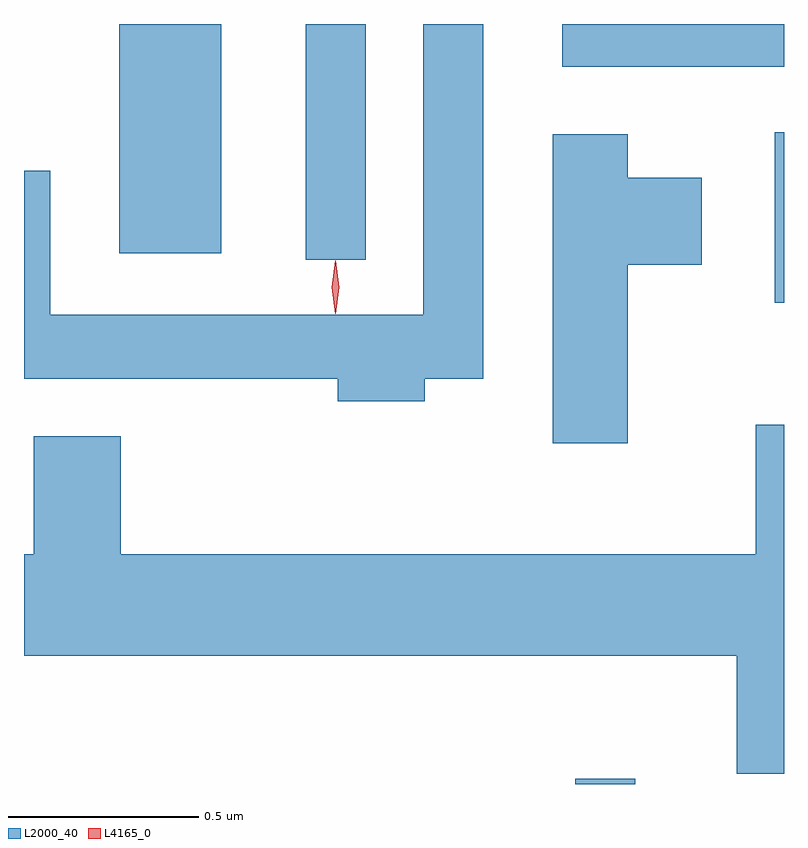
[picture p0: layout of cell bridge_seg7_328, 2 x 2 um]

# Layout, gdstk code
import gdstk
lib = gdstk.Library(unit=1e-6, precision=1e-09)
def R(c, l, rs):  # rectangles x0, y0, x1, y1
    for r in rs: c.add(gdstk.rectangle(r[:2], r[2:], *l))
def P(c, l, *ps):  # polygons
    for p in ps: c.add(gdstk.Polygon(p, *l))
L2000_40 = (2000, 40)
L4165_0 = (4165, 0)

bridge_seg7_328 = lib.new_cell('bridge_seg7_328')
R(bridge_seg7_328, L2000_40, [(1195.856,1756.159,1196.014,1756.173), (1196.381,1757.426,1196.405,1757.874), (1195.146,1757.538,1195.304,1758.159), (1194.656,1757.556,1194.924,1758.159), (1195.821,1758.046,1196.405,1758.159)])
P(bridge_seg7_328, L2000_40, [(1195.459,1757.226),(1195.614,1757.226),(1195.614,1758.159),(1195.456,1758.159),(1195.456,1757.394),(1194.474,1757.394),(1194.474,1757.773),(1194.405,1757.773),(1194.405,1757.226),(1195.231,1757.226),(1195.231,1757.166),(1195.459,1757.166)],
  [(1195.994,1757.526),(1196.189,1757.526),(1196.189,1757.754),(1195.994,1757.754),(1195.994,1757.869),(1195.796,1757.869),(1195.796,1757.056),(1195.994,1757.056)],
  [(1196.405,1757.104),(1196.331,1757.104),(1196.331,1756.764),(1194.659,1756.764),(1194.659,1757.074),(1194.431,1757.074),(1194.431,1756.764),(1194.405,1756.764),(1194.405,1756.496),(1196.281,1756.496),(1196.281,1756.186),(1196.405,1756.186)])
P(bridge_seg7_328, L4165_0, [(1195.224,1757.397),(1195.215,1757.466),(1195.224,1757.536),(1195.225,1757.536),(1195.225,1757.536),(1195.235,1757.466),(1195.225,1757.397),(1195.225,1757.397)])

lib.write_gds('bridge_seg7_328.gds')
